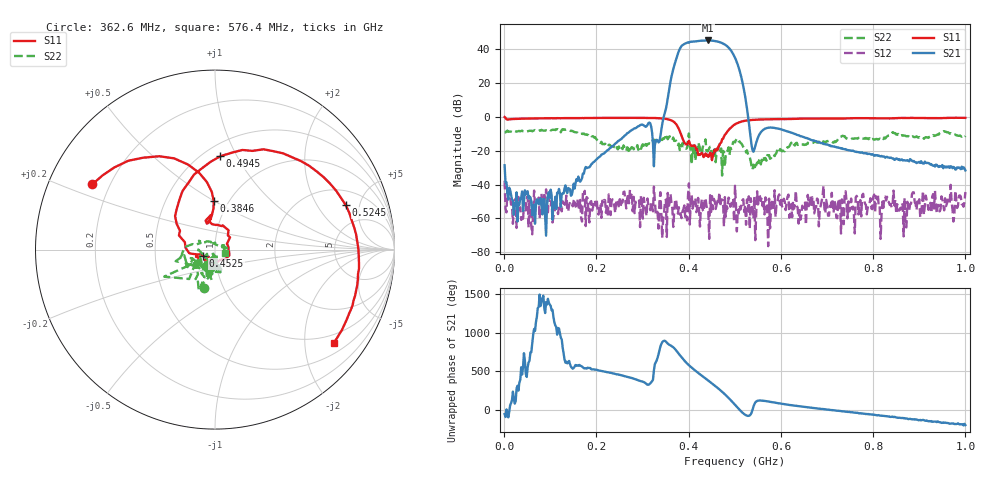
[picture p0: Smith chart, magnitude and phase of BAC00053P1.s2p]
!measured: 2026-10-27T15:14:32
!cal_instance: BBtestOct27
!cal_created: 2026-10-27T14:45
!cal_file: BBtesting.cal
!port1_delay_ps: -58.63
!port2_delay_ps: -59.31
!host: dhcp-10-250-247-203.harvard.edu
! Created with skrf 2.1.0 (http://scikit-rf.org).
# Hz S RI R 50.0
!freq ReS11 ImS11 ReS21 ImS21 ReS12 ImS12 ReS22 ImS22
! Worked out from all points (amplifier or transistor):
!   501 points, 1 MHz to 1 GHz, reference 50 ohm
!   highest |S21| = 44.9 dB at 442.6 MHz (marker M1)
!   |S21| within 3 dB of that: 385.7 MHz to 481.5 MHz (95.79 MHz wide, 22.1 % of centre)
!   unconditionally stable (mu >= 1): start of sweep to 398.7 MHz; 400.9 MHz to 446.6 MHz; 500.6 MHz to end of sweep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
!   at 166.8 MHz: K = 5479.15, MAG = -29.5 dB, |S12| = -59.3 dB
!   at 500.5 MHz: K = 0.98, MSG = 37.7 dB, |S12| = -40.7 dB
!   at 1 GHz: K = 449.73, MAG = -23.2 dB, |S12| = -44.4 dB
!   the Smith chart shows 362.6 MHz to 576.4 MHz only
!   S11 on the Smith chart (normalised r, x): 362.6 MHz: 0.13, +0.24; 384.6 MHz: 0.85, +0.50; 452.5 MHz: 0.88, -0.06; 494.5 MHz: 0.60, +0.86; 524.5 MHz: 3.01, +3.67; 576.4 MHz: 0.76, -2.70
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1000000  -0.3588 0.9064  0.0214 -0.0303  0.00923 0.00916  0.3424 0.0157
1.68832e8  0.5073 -0.7534  -0.0145 -0.00507  -0.000746 0.000331  -0.0281 -0.315
3.34666e8  -0.8274 -0.3535  0.1741 -0.00184  0.00031 -0.000397  0.0399 -0.1881
3.62638e8  -0.6845 0.3628  -4.475 14.16  0.00124 0.00265  -0.0621 -0.2166
3.74626e8  -0.2276 0.5083  47.07 34.85  0.00129 -0.00164  -0.0944 -0.1364
3.84616e8  -0.00711 0.27  94.27 -74.8  -0.000981 0.000308  -0.122 -0.0531
3.94606e8  -0.0397 0.1469  -42.75 -140  -0.00186 0.000964  -0.0973 -0.0578
4.08592e8  0.0111 0.1386  -161.2 10.69  -0.00191 0.000378  -0.0554 -0.1168
4.18582e8  0.0837 0.0682  -103.3 132.2  0.00189 0.000666  -0.0533 -0.0679
4.26574e8  0.0789 -0.013  -5.237 172.2  0.000996 0.00189  -0.0168 -0.0753
4.42558e8  -0.0167 -0.0629  165.8 58.18  -0.00109 0.00136  -0.0201 -0.0962
4.52548e8  -0.0654 -0.0348  154 -77.64  5.4e-05 -0.00188  -0.0319 -0.0654
4.64536e8  -0.1287 -0.0231  15.97 -159.7  -0.00275 0.000155  -0.00892 -0.1178
4.76524e8  -0.2135 0.1431  -115.3 -75.36  0.000146 0.000562  0.0163 -0.0921
4.84516e8  -0.1808 0.327  -112.6 25.4  -0.00142 0.0014  -0.000788 -0.1007
4.94506e8  0.0296 0.5201  -19.62 75.47  -0.00272 -0.00174  -0.0867 -0.1038
5.005e8  0.2083 0.55  22.01 49.6  0.00906 -0.00156  -0.1712 -0.0318
5.24476e8  0.7284 0.2486  0.9076 -2.523  -0.000589 0.000286  -0.0801 0.0371
5.76424e8  0.6603 -0.5196  -0.1225 0.4629  0.000348 0.000375  0.0538 -0.0199
6.68332e8  0.1055 -0.8716  0.1791 0.0879  -0.00418 0.000538  0.0584 -0.1569
8.34166e8  -0.5646 -0.6907  0.00598 -0.0618  0.00259 -0.00158  -0.1649 -0.2241
1e9  -0.8778 -0.2766  -0.025 0.00764  0.00603 0.000328  -0.2166 -0.1583
